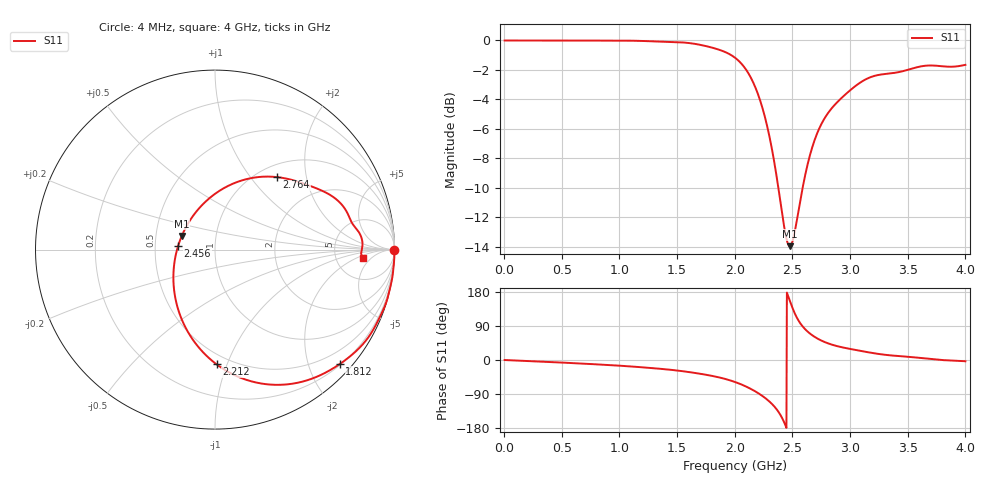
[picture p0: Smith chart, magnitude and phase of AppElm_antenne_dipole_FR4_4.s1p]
! TOUCHSTONE file generated by CST MICROWAVE STUDIO
! Date and time: Thu May 12 15:28:10 2022
! Project name: AppElm_antenne_dipole_FR4.cst
! Parameters = {L=38.8; e=0.035; f=2.45e+09; h=1.6; i=0.8; l1=3.6; lambda=122.449; ls=30; wl=1.7; ws=80}
! Header version: 2018
! Port assignment regex: !\s*Touchstone port\s*([0-9]+)\s*=\s*(CST MWS port|CST DS port)\s*([0-9]+|Zmin|Zmax)\s*\(\"(.*)\"\)(\s*mode\s*([0-9]+))?.*
! Touchstone port assignment:
! Touchstone port 1 = CST MWS port 1 ("")
# GHz S MA R 50
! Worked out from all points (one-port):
!   1000 points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, 4 MHz to 4 GHz, reference 50 ohm
!   lowest |S11| = -14.0 dB at 2.476 GHz (marker M1), VSWR 1.50, Z = 34 + j5.39 ohm
!   |S11| at or under -10 dB: 2.378 GHz to 2.589 GHz (210.8 MHz wide, 8.49 % of centre)
!   S11 on the Smith chart (normalised r, x): 4 MHz: open; 1.812 GHz: 0.22, -2.56; 2.212 GHz: 0.43, -0.92; 2.456 GHz: 0.66, +0.03; 2.764 GHz: 1.21, +1.37; 4 GHz: 10, -3
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0.004  0.9996 -0.1
0.504  0.9996 -6.8
1.004  0.9985 -15.1
1.504  0.9871 -27.9
1.66  0.9728 -34.4
1.812  0.9434 -42.5
1.916  0.9137 -49.9
2.004  0.8726 -58.3
2.116  0.7761 -72.7
2.164  0.7142 -80.4
2.212  0.6392 -89.2
2.28  0.5135 -104.2
2.34  0.3915 -121.6
2.396  0.2829 -145.1
2.456  0.2067 174.5
2.476  0.2002 157.7
2.504  0.21 134.8
2.564  0.2799 98.7
2.624  0.3685 77.1
2.688  0.4537 61.9
2.764  0.5316 49.4
2.864  0.6028 38.5
3.004  0.6791 29.0
3.208  0.7573 17.8
3.504  0.7956 8.5
3.648  0.8203 4.1
3.776  0.8189 0.3
4  0.8264 -3.2
